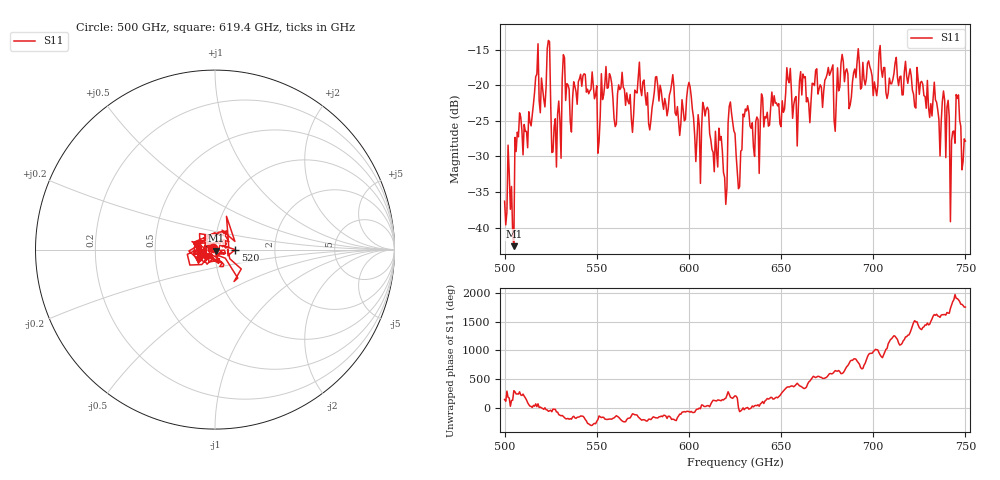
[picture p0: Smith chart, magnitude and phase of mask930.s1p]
!Created with skrf (http://scikit-rf.org).
# GHz S MA R 50.0
!freq magS11 angS11
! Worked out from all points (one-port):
!   401 points, 500 GHz to 750 GHz, reference 50 ohm
!   lowest |S11| = -42.6 dB at 505 GHz (marker M1), VSWR 1.01, Z = 50.4 - j0.652 ohm
!   |S11| at or under -10 dB: start of sweep to end of sweep
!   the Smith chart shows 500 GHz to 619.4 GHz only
!   S11 on the Smith chart (normalised r, x): 500 GHz: 0.97, +0.02; 520 GHz: 1.25, -0.00; 619.4 GHz: 0.96, +0.02
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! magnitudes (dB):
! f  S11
! 500 GHz  -36.3
! 505 GHz  -42.6
! 508.1 GHz  -23.9
! 520 GHz  -19.0
! 523.8 GHz  -13.7
! 526.9 GHz  -25.8
! 531.2 GHz  -19.1
! 542.5 GHz  -18.6
! 550.6 GHz  -29.5
! 562.5 GHz  -20.6
! 590.6 GHz  -19.8
! 593.8 GHz  -23.0
! 600 GHz  -19.6
! 605 GHz  -24.1
! 608.8 GHz  -24.3
! 619.4 GHz  -32.9
! 622.5 GHz  -22.3
! 625 GHz  -26.8
! 626.9 GHz  -34.5
! 630.6 GHz  -23.3
! 636.9 GHz  -24.5
! 656.2 GHz  -24.6
! 687.5 GHz  -22.7
! 718.8 GHz  -19.7
! 739.4 GHz  -30.2
! 743.1 GHz  -26.5
! 746.2 GHz  -21.3
! 750 GHz  -27.8
